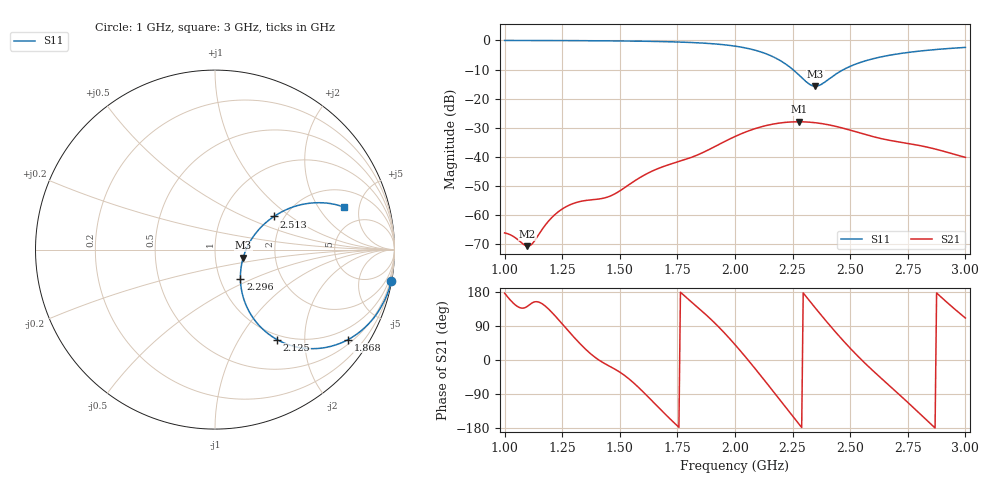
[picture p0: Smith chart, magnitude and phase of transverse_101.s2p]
! TOUCHSTONE file generated by CST MICROWAVE STUDIO
! Date and time: Tue Mar 11 13:56:41 2025
! Project name: transverse.cst
! Parameters = {Fracture=1; B=10; D=160; F=25; Feed=2.85625; L=100; M=20; R=0.384908; S=1; Theta=90; length=57.125; wave=114.25}
! Header version: 2024
! Port assignment regex: !\s*Touchstone port\s*([0-9]+)\s*=\s*(CST MWS port|CST DES external port|CST DES block port)\s*(.+)\s* \(\"(.*)\"\)(\s*mode\s*([0-9]+))?.*
! Touchstone port assignment:
! Touchstone port 1 = CST MWS port 1 ("")
! Touchstone port 2 = CST MWS port 2 ("")
# GHz S MA R 50
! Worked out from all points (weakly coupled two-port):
!   305 points, 1 GHz to 3 GHz, reference 50 ohm
!   highest |S21| = -27.92 dB at 2.276 GHz (marker M1); lowest = -70.6 dB at 1.099 GHz (marker M2)
!   lowest |S11| = -15.7 dB at 2.349 GHz (marker M3), VSWR 1.39, Z = 68.3 - j6.34 ohm
!   |S11| at or under -10 dB: 2.251 GHz to 2.471 GHz (220.2 MHz wide, 9.33 % of centre)
!   S12 and S22 are empty: the file has one direction only
!   S11 on the Smith chart (normalised r, x): 1 GHz: 0, -11; 1.868 GHz: 0.62, -3.15; 2.125 GHz: 0.93, -1.48; 2.296 GHz: 1.25, -0.43; 2.513 GHz: 1.77, +0.76; 3 GHz: 3.19, +3.52
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1  0.9976 -10.0  0.0004978 176.4  0 0.0  0 0.0
1.09868  0.9965 -11.4  0.0002947 141.6  0 0.0  0 0.0
1.11842  0.9961 -11.7  0.0003198 150.3  0 0.0  0 0.0
1.17763  0.9947 -12.6  0.0006863 141.7  0 0.0  0 0.0
1.22368  0.9933 -13.4  0.00107 113.4  0 0.0  0 0.0
1.27632  0.9917 -14.4  0.001465 77.1  0 0.0  0 0.0
1.33553  0.9893 -15.5  0.001748 38.0  0 0.0  0 0.0
1.46053  0.9813 -18.3  0.002151 -18.1  0 0.0  0 0.0
1.67105  0.9568 -24.6  0.006443 -127.0  0 0.0  0 0.0
1.86842  0.8954 -34.0  0.01231 122.6  0 0.0  0 0.0
2  0.7969 -43.7  0.02243 40.6  0 0.0  0 0.0
2.125  0.6094 -55.4  0.03381 -51.4  0 0.0  0 0.0
2.20395  0.4321 -60.9  0.03866 -112.2  0 0.0  0 0.0
2.27632  0.2577 -55.6  0.04018 -168.0  0 0.0  0 0.0
2.29605  0.2174 -49.4  0.04006 176.9  0 0.0  0 0.0
2.33553  0.167 -26.2  0.03914 147.0  0 0.0  0 0.0
2.34868  0.1633 -16.1  0.03865 137.2  0 0.0  0 0.0
2.42763  0.2479 22.3  0.03419 79.9  0 0.0  0 0.0
2.51316  0.3776 29.3  0.02787 22.7  0 0.0  0 0.0
2.67105  0.5565 27.1  0.01929 -68.2  0 0.0  0 0.0
2.83553  0.6769 22.5  0.01471 -160.7  0 0.0  0 0.0
3  0.7578 18.1  0.009832 110.8  0 0.0  0 0.0
